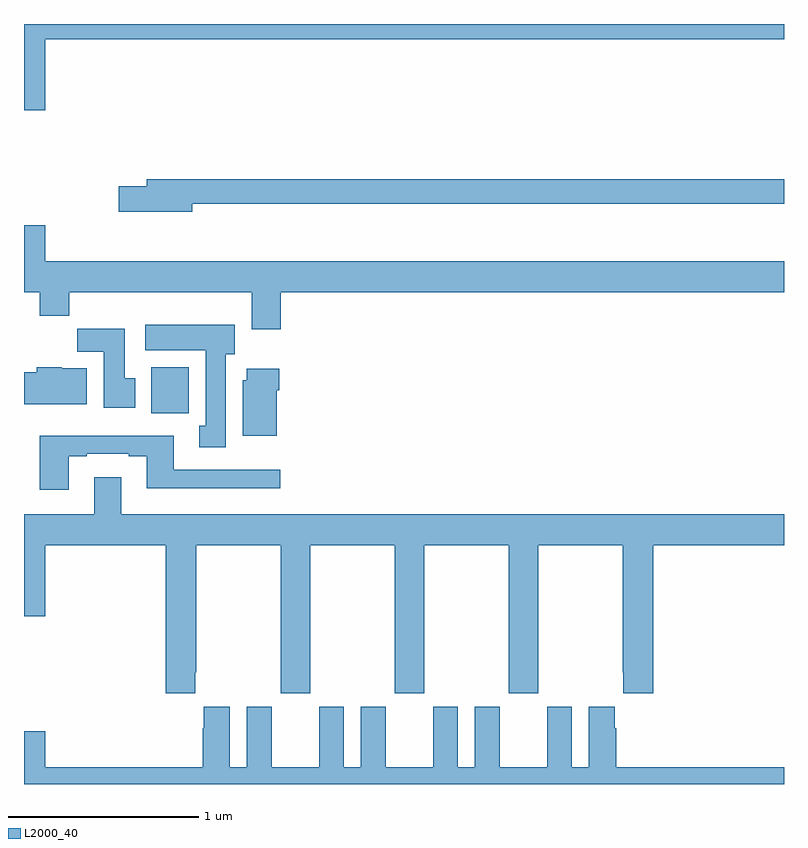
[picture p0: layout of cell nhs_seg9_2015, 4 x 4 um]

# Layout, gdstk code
import gdstk
lib = gdstk.Library(unit=1e-6, precision=1e-09)
def R(c, l, rs):  # rectangles x0, y0, x1, y1
    for r in rs: c.add(gdstk.rectangle(r[:2], r[2:], *l))
def P(c, l, *ps):  # polygons
    for p in ps: c.add(gdstk.Polygon(p, *l))
L2000_40 = (2000, 40)

nhs_seg9_2015 = lib.new_cell('nhs_seg9_2015')
R(nhs_seg9_2015, L2000_40, [(225.671,1194.452,225.868,1194.694)])
P(nhs_seg9_2015, L2000_40, [(225.112,1196.42),(229,1196.42),(229,1196.5),(225,1196.5),(225,1196.046),(225.112,1196.046)],
  [(225.886,1195.554),(229,1195.554),(229,1195.682),(225.647,1195.682),(225.647,1195.646),(225.498,1195.646),(225.498,1195.511),(225.886,1195.511)],
  [(226.352,1195.088),(229,1195.088),(229,1195.252),(225.112,1195.252),(225.112,1195.441),(225,1195.441),(225,1195.088),(225.083,1195.088),(225.083,1194.964),(225.239,1194.964),(225.239,1195.088),(226.199,1195.088),(226.199,1194.894),(226.352,1194.894)],
  [(226.063,1194.762),(226.108,1194.762),(226.108,1194.916),(225.639,1194.916),(225.639,1194.782),(225.956,1194.782),(225.956,1194.386),(225.923,1194.386),(225.923,1194.273),(226.063,1194.273)],
  [(225.586,1194.636),(225.529,1194.636),(225.529,1194.895),(225.28,1194.895),(225.28,1194.776),(225.419,1194.776),(225.419,1194.48),(225.586,1194.48)],
  [(225.331,1194.688),(225.198,1194.688),(225.198,1194.694),(225.068,1194.694),(225.068,1194.666),(225,1194.666),(225,1194.5),(225.331,1194.5)],
  [(226.33,1194.572),(226.343,1194.572),(226.343,1194.685),(226.172,1194.685),(226.172,1194.624),(226.151,1194.624),(226.151,1194.332),(226.33,1194.332)],
  [(225.235,1194.225),(225.331,1194.225),(225.331,1194.237),(225.551,1194.237),(225.551,1194.225),(225.647,1194.225),(225.647,1194.056),(226.348,1194.056),(226.348,1194.153),(225.787,1194.153),(225.787,1194.334),(225.083,1194.334),(225.083,1194.048),(225.235,1194.048)],
  [(225.901,1193.089),(225.906,1193.089),(225.906,1193.756),(226.351,1193.756),(226.351,1192.977),(226.506,1192.977),(226.506,1193.756),(226.951,1193.756),(226.951,1192.977),(227.106,1192.977),(227.106,1193.756),(227.551,1193.756),(227.551,1192.977),(227.706,1192.977),(227.706,1193.756),(228.151,1193.756),(228.151,1193.089),(228.155,1193.089),(228.155,1192.977),(228.311,1192.977),(228.311,1193.756),(229,1193.756),(229,1193.92),(225.511,1193.92),(225.511,1194.115),(225.371,1194.115),(225.371,1193.92),(225,1193.92),(225,1193.382),(225.112,1193.382),(225.112,1193.756),(225.746,1193.756),(225.746,1192.977),(225.901,1192.977)],
  [(226.172,1192.906),(226.172,1192.588),(226.084,1192.588),(226.084,1192.906),(225.947,1192.906),(225.947,1192.793),(225.941,1192.793),(225.941,1192.588),(225.112,1192.588),(225.112,1192.777),(225,1192.777),(225,1192.5),(229,1192.5),(229,1192.588),(228.116,1192.588),(228.116,1192.793),(228.109,1192.793),(228.109,1192.906),(227.972,1192.906),(227.972,1192.588),(227.884,1192.588),(227.884,1192.906),(227.753,1192.906),(227.753,1192.588),(227.503,1192.588),(227.503,1192.906),(227.372,1192.906),(227.372,1192.588),(227.284,1192.588),(227.284,1192.906),(227.153,1192.906),(227.153,1192.588),(226.903,1192.588),(226.903,1192.906),(226.772,1192.906),(226.772,1192.588),(226.684,1192.588),(226.684,1192.906),(226.553,1192.906),(226.553,1192.588),(226.303,1192.588),(226.303,1192.906)])

lib.write_gds('nhs_seg9_2015.gds')
